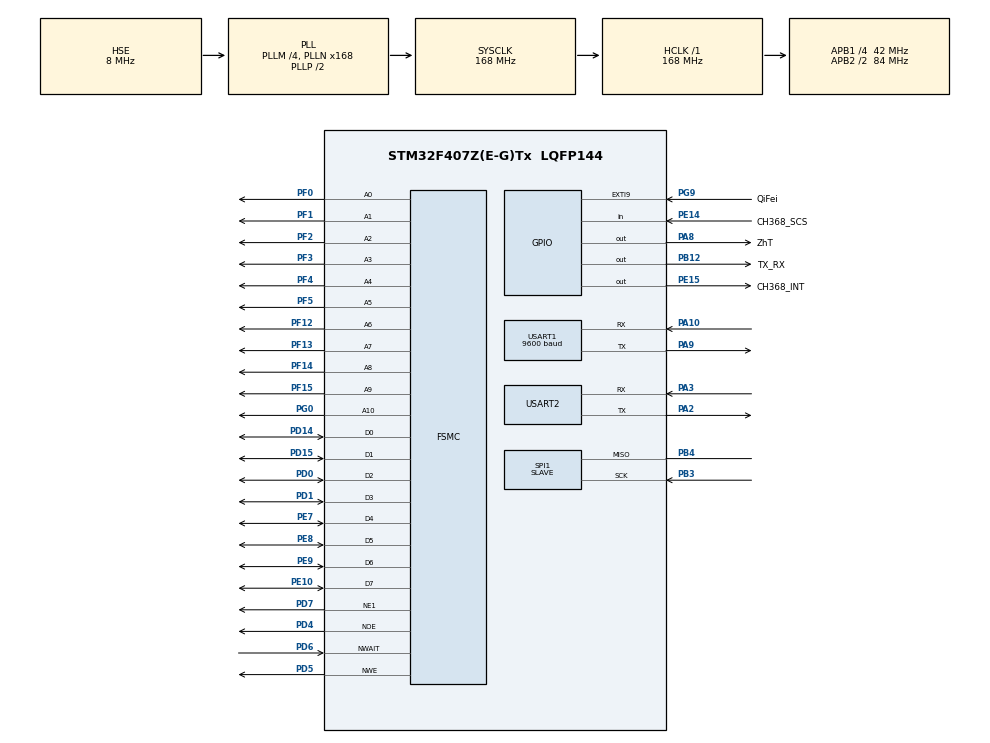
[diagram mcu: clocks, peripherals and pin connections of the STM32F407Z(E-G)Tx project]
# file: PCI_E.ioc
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Dma.Request0=SPI1_RX
Dma.SPI1_RX.0.Direction=DMA_PERIPH_TO_MEMORY
Dma.SPI1_RX.0.FIFOMode=DMA_FIFOMODE_DISABLE
Dma.SPI1_RX.0.Instance=DMA2_Stream0
Dma.SPI1_RX.0.MemDataAlignment=DMA_MDATAALIGN_BYTE
Dma.SPI1_RX.0.MemInc=DMA_MINC_ENABLE
Dma.SPI1_RX.0.Mode=DMA_NORMAL
Dma.SPI1_RX.0.PeriphDataAlignment=DMA_PDATAALIGN_BYTE
Dma.SPI1_RX.0.PeriphInc=DMA_PINC_DISABLE
Dma.SPI1_RX.0.Priority=DMA_PRIORITY_LOW
FSMC.AddressSetupTime1=1
FSMC.BusTurnAroundDuration1=1
FSMC.DataSetupTime1=5
FSMC.WriteOperation1=FSMC_WRITE_OPERATION_ENABLE
Mcu.Family=STM32F4
Mcu.Name=STM32F407Z(E-G)Tx
Mcu.Package=LQFP144
NVIC.DMA2_Stream0_IRQn=true\:0\:0\:false\:false\:true\:false
NVIC.EXTI9_5_IRQn=true\:7\:1\:true\:false\:true\:true
NVIC.PriorityGroup=NVIC_PRIORITYGROUP_3
NVIC.SPI1_IRQn=true\:0\:0\:false\:false\:true\:true
PA10.Mode=Asynchronous
PA10.Signal=USART1_RX
PA13.Mode=Serial_Wire
PA13.Signal=SYS_JTMS-SWDIO
PA14.Mode=Serial_Wire
PA14.Signal=SYS_JTCK-SWCLK
PA2.Mode=Asynchronous
PA2.Signal=USART2_TX
PA3.Mode=Asynchronous
PA3.Signal=USART2_RX
PA8.GPIO_Label=ZhT
PA8.Signal=GPIO_Output
PA9.Mode=Asynchronous
PA9.Signal=USART1_TX
PB12.GPIO_Label=TX_RX
PB12.GPIO_Speed=GPIO_SPEED_FREQ_HIGH
PB12.PinState=GPIO_PIN_SET
PB12.Signal=GPIO_Output
PB3.Mode=Simplex_Bidirectional_Slave
PB3.Signal=SPI1_SCK
PB4.Mode=Simplex_Bidirectional_Slave
PB4.Signal=SPI1_MISO
PD0.Signal=FSMC_D2_DA2
PD1.Signal=FSMC_D3_DA3
PD14.Signal=FSMC_D0_DA0
PD15.Signal=FSMC_D1_DA1
PD4.Signal=FSMC_NOE
PD5.Signal=FSMC_NWE
PD6.Signal=FSMC_NWAIT
PD7.Mode=NorPsramChipSelect1_1
PD7.Signal=FSMC_NE1
PE10.Signal=FSMC_D7_DA7
PE14.GPIO_Label=CH368_SCS
PE14.GPIO_PuPd=GPIO_PULLUP
PE14.Signal=GPIO_Input
PE15.GPIO_Label=CH368_INT
PE15.PinState=GPIO_PIN_SET
PE15.Signal=GPIO_Output
PE7.Signal=FSMC_D4_DA4
PE8.Signal=FSMC_D5_DA5
PE9.Signal=FSMC_D6_DA6
PF0.Signal=FSMC_A0
PF1.Signal=FSMC_A1
PF12.Signal=FSMC_A6
PF13.Signal=FSMC_A7
PF14.Signal=FSMC_A8
PF15.Signal=FSMC_A9
PF2.Signal=FSMC_A2
PF3.Signal=FSMC_A3
PF4.Signal=FSMC_A4
PF5.Signal=FSMC_A5
PG0.Signal=FSMC_A10
PG9.GPIO_Label=QiFei
PG9.GPIO_ModeDefaultEXTI=GPIO_MODE_IT_RISING_FALLING
PG9.Signal=GPXTI9
PH0-OSC_IN.Mode=HSE-External-Oscillator
PH0-OSC_IN.Signal=RCC_OSC_IN
PH1-OSC_OUT.Mode=HSE-External-Oscillator
PH1-OSC_OUT.Signal=RCC_OSC_OUT
ProjectManager.HeapSize=0x200
ProjectManager.StackSize=0x400
ProjectManager.TargetToolchain=Other Toolchains (GPDSC)
RCC.48MHZClocksFreq_Value=84000000
RCC.AHBFreq_Value=168000000
RCC.APB1CLKDivider=RCC_HCLK_DIV4
RCC.APB1Freq_Value=42000000
RCC.APB1TimFreq_Value=84000000
RCC.APB2CLKDivider=RCC_HCLK_DIV2
RCC.APB2Freq_Value=84000000
RCC.APB2TimFreq_Value=168000000
RCC.CortexFreq_Value=168000000
RCC.HCLKFreq_Value=168000000
RCC.HSE_VALUE=8000000
RCC.HSI_VALUE=16000000
RCC.LSE_VALUE=32768
RCC.PLLM=4
RCC.PLLN=168
RCC.PLLSourceVirtual=RCC_PLLSOURCE_HSE
RCC.SYSCLKFreq_VALUE=168000000
RCC.SYSCLKSource=RCC_SYSCLKSOURCE_PLLCLK
RCC.VCOOutputFreq_Value=336000000
SH.FSMC_A0.0=FSMC_A0,11b-a1
SH.FSMC_A1.0=FSMC_A1,11b-a1
SH.FSMC_A10.0=FSMC_A10,11b-a1
SH.FSMC_A2.0=FSMC_A2,11b-a1
SH.FSMC_A3.0=FSMC_A3,11b-a1
SH.FSMC_A4.0=FSMC_A4,11b-a1
SH.FSMC_A5.0=FSMC_A5,11b-a1
SH.FSMC_A6.0=FSMC_A6,11b-a1
SH.FSMC_A7.0=FSMC_A7,11b-a1
SH.FSMC_A8.0=FSMC_A8,11b-a1
SH.FSMC_A9.0=FSMC_A9,11b-a1
SH.FSMC_D0_DA0.0=FSMC_D0,8b-d1
SH.FSMC_D1_DA1.0=FSMC_D1,8b-d1
SH.FSMC_D2_DA2.0=FSMC_D2,8b-d1
SH.FSMC_D3_DA3.0=FSMC_D3,8b-d1
SH.FSMC_D4_DA4.0=FSMC_D4,8b-d1
SH.FSMC_D5_DA5.0=FSMC_D5,8b-d1
SH.FSMC_D6_DA6.0=FSMC_D6,8b-d1
SH.FSMC_D7_DA7.0=FSMC_D7,8b-d1
SH.FSMC_NOE.0=FSMC_NOE,Sram1
SH.FSMC_NWAIT.0=FSMC_NWAIT,AsynchronousWait1
SH.FSMC_NWE.0=FSMC_NWE,Sram1
SPI1.CLKPhase=SPI_PHASE_2EDGE
SPI1.CLKPolarity=SPI_POLARITY_HIGH
SPI1.Direction=SPI_DIRECTION_1LINE
SPI1.Mode=SPI_MODE_SLAVE
SPI1.VirtualType=VM_SLAVE
USART1.BaudRate=9600
USART1.VirtualMode=VM_ASYNC
USART2.VirtualMode=VM_ASYNC
VP_IWDG_VS_IWDG.Mode=IWDG_Activate
board=custom

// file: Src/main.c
/**
  ******************************************************************************
  * @file           : main.c
  * @brief          : Main program body
  ******************************************************************************
  ** This notice applies to any and all portions of this file
  * that are not between comment pairs USER CODE BEGIN and
  * USER CODE END. Other portions of this file, whether
  * inserted by the user or by software development tools
  * are owned by their respective copyright owners.
  *
  * COPYRIGHT(c) 2019 STMicroelectronics
  *
  * Redistribution and use in source and binary forms, with or without modification,
  * are permitted provided that the following conditions are met:
  *   1. Redistributions of source code must retain the above copyright notice,
  *      this list of conditions and the following disclaimer.
  *   2. Redistributions in binary form must reproduce the above copyright notice,
  *      this list of conditions and the following disclaimer in the documentation
  *      and/or other materials provided with the distribution.
  *   3. Neither the name of STMicroelectronics nor the names of its contributors
  *      may be used to endorse or promote products derived from this software
  *      without specific prior written permission.
  *
  * THIS SOFTWARE IS PROVIDED BY THE COPYRIGHT HOLDERS AND CONTRIBUTORS "AS IS"
  * AND ANY EXPRESS OR IMPLIED WARRANTIES, INCLUDING, BUT NOT LIMITED TO, THE
  * IMPLIED WARRANTIES OF MERCHANTABILITY AND FITNESS FOR A PARTICULAR PURPOSE ARE
  * DISCLAIMED. IN NO EVENT SHALL THE COPYRIGHT HOLDER OR CONTRIBUTORS BE LIABLE
  * FOR ANY DIRECT, INDIRECT, INCIDENTAL, SPECIAL, EXEMPLARY, OR CONSEQUENTIAL
  * DAMAGES (INCLUDING, BUT NOT LIMITED TO, PROCUREMENT OF SUBSTITUTE GOODS OR
  * SERVICES; LOSS OF USE, DATA, OR PROFITS; OR BUSINESS INTERRUPTION) HOWEVER
  * CAUSED AND ON ANY THEORY OF LIABILITY, WHETHER IN CONTRACT, STRICT LIABILITY,
  * OR TORT (INCLUDING NEGLIGENCE OR OTHERWISE) ARISING IN ANY WAY OUT OF THE USE
  * OF THIS SOFTWARE, EVEN IF ADVISED OF THE POSSIBILITY OF SUCH DAMAGE.
  *
  ******************************************************************************
  */
#include "main.h"
#include "stm32f4xx_hal.h"
#include "dma.h"
#include "iwdg.h"
#include "spi.h"
#include "usart.h"
#include "gpio.h"
#include "fsmc.h"

/* USER CODE BEGIN Includes */
#include "ExtraMemories.h"
/* USER CODE END Includes */

/* USER CODE BEGIN PV */
/* Private variables ---------------------------------------------------------*/
uint8_t SPIRxHeader[7];
/* USER CODE END PV */

void SystemClock_Config(void);

/* USER CODE BEGIN PFP */
/* Private function prototypes -----------------------------------------------*/

/* USER CODE END PFP */

/* USER CODE BEGIN 0 */
IDT71V321_DATA uint8_t ExRAM[2048];
uint8_t nIndex;
uint32_t waitTick;
extern volatile uint32_t rxErr;
/* USER CODE END 0 */

int main(void)
{
  /* USER CODE BEGIN 1 */
	uint32_t i;
	uint8_t tx485[14],x;
	uint8_t readx[1024];
	GPIO_PinState gp;
  /* USER CODE END 1 */

  /* MCU Configuration----------------------------------------------------------*/

  /* Reset of all peripherals, Initializes the Flash interface and the Systick. */
  HAL_Init();

  /* Configure the system clock */
  SystemClock_Config();

  /* Initialize all configured peripherals */
  MX_GPIO_Init();
  MX_DMA_Init();
  MX_FSMC_Init();
  MX_USART2_UART_Init();
  MX_SPI1_Init();
  MX_USART1_UART_Init();
  MX_IWDG_Init();
  /* USER CODE BEGIN 2 */
//   while (1)
//   {
// 	  tx485[0]=0x55;
// 	  HAL_UART_Transmit(&huart1,tx485,1,1000);
// 	  HAL_Delay(10);
// 	  HAL_GPIO_TogglePin(ZhT_GPIO_Port,ZhT_Pin);
//   }

  //�ȴ�pci׼����
  rxErr=0;
  HAL_GPIO_WritePin(CH368_INT_GPIO_Port, CH368_INT_Pin, GPIO_PIN_SET);
  waitTick=HAL_GetTick();
  while (1)
  {
	  gp=HAL_GPIO_ReadPin(CH368_SCS_GPIO_Port, CH368_SCS_Pin) ;
	  if(gp==GPIO_PIN_SET)
		  break;
	  if(GetDeltaTick(waitTick)>1000)
		  break;
  }

  __HAL_GPIO_EXTI_CLEAR_IT(GPIO_PIN_9);
  HAL_NVIC_EnableIRQ(EXTI9_5_IRQn);
  HAL_GPIO_WritePin(ZhT_GPIO_Port,ZhT_Pin,GPIO_PIN_SET);
//   for(i=0;i<1024;i++)
//   {
// 	  readx[i]=*(uint8_t *)(0x60000000+i);
// 	  if(readx[i]!=ExRAM[i])
// 		  break;
//   }
  /* USER CODE END 2 */

  /* Infinite loop */
  /* USER CODE BEGIN WHILE */
//   tx485[0]=0x16;
//   tx485[13]=0x0d;
//   x=0;
//   for(i=0;i<12;i++)
// 	  tx485[i]=x;
  while (1)
  {
	  HAL_IWDG_Refresh(&hiwdg);
// 	  x++;
// 	  for(i=0;i<12;i++)
// 		  tx485[i]=x;
// 	  HAL_UART_Transmit(&huart1,tx485,14,1000);
// 	  HAL_Delay(1000);
//	  HAL_GPIO_TogglePin(ZhT_GPIO_Port,ZhT_Pin);
// 	  HAL_GPIO_WritePin(CH368_INT_GPIO_Port, CH368_INT_Pin, GPIO_PIN_RESET);
// 	  while (1)
// 	  {
// 		  gp=HAL_GPIO_ReadPin(CH368_SCS_GPIO_Port, CH368_SCS_Pin) ;
// 		  if(gp==GPIO_PIN_RESET)
// 			  break;
// 	  }
// 	  HAL_GPIO_WritePin(CH368_INT_GPIO_Port, CH368_INT_Pin, GPIO_PIN_SET);
// 	  nIndex++;
// 	  for(i=0;i<1024;i++)
// 	  {
// 		  ExRAM[i]=nIndex;
// 	  }
	  tx485[0] = 0x16;
	  tx485[1] = '0';
	  tx485[2] ='0';
	  tx485[3] = '1';
	  tx485[4] = '1';
	  tx485[5] = '1';
	  tx485[6] =  '1';
	  tx485[7] = '1';
	  tx485[8] = '0';
	  tx485[9] = '5';
	  tx485[10] = '1';
	  tx485[11] = 'e';
	  tx485[12] = 'b';
	  tx485[13] = 0x0d;
	  HAL_UART_Transmit(&huart1,tx485,14,1000);
	  HAL_Delay(1000);
  /* USER CODE END WHILE */

  }

}

void SystemClock_Config(void)
{

  RCC_OscInitTypeDef RCC_OscInitStruct;
  RCC_ClkInitTypeDef RCC_ClkInitStruct;

    /**Configure the main internal regulator output voltage
    */
  __HAL_RCC_PWR_CLK_ENABLE();

  __HAL_PWR_VOLTAGESCALING_CONFIG(PWR_REGULATOR_VOLTAGE_SCALE1);

    /**Initializes the CPU, AHB and APB busses clocks
    */
  RCC_OscInitStruct.OscillatorType = RCC_OSCILLATORTYPE_LSI|RCC_OSCILLATORTYPE_HSE;
  RCC_OscInitStruct.HSEState = RCC_HSE_ON;
  RCC_OscInitStruct.LSIState = RCC_LSI_ON;
  RCC_OscInitStruct.PLL.PLLState = RCC_PLL_ON;
  RCC_OscInitStruct.PLL.PLLSource = RCC_PLLSOURCE_HSE;
  RCC_OscInitStruct.PLL.PLLM = 4;
  RCC_OscInitStruct.PLL.PLLN = 168;
  RCC_OscInitStruct.PLL.PLLP = RCC_PLLP_DIV2;
  RCC_OscInitStruct.PLL.PLLQ = 4;
  if (HAL_RCC_OscConfig(&RCC_OscInitStruct) != HAL_OK)
  {
    _Error_Handler(__FILE__, __LINE__);
  }

    /**Initializes the CPU, AHB and APB busses clocks
    */
  RCC_ClkInitStruct.ClockType = RCC_CLOCKTYPE_HCLK|RCC_CLOCKTYPE_SYSCLK
                              |RCC_CLOCKTYPE_PCLK1|RCC_CLOCKTYPE_PCLK2;
  RCC_ClkInitStruct.SYSCLKSource = RCC_SYSCLKSOURCE_PLLCLK;
  RCC_ClkInitStruct.AHBCLKDivider = RCC_SYSCLK_DIV1;
  RCC_ClkInitStruct.APB1CLKDivider = RCC_HCLK_DIV4;
  RCC_ClkInitStruct.APB2CLKDivider = RCC_HCLK_DIV2;

  if (HAL_RCC_ClockConfig(&RCC_ClkInitStruct, FLASH_LATENCY_5) != HAL_OK)
  {
    _Error_Handler(__FILE__, __LINE__);
  }

    /**Configure the Systick interrupt time
    */
  HAL_SYSTICK_Config(HAL_RCC_GetHCLKFreq()/1000);

    /**Configure the Systick
    */
  HAL_SYSTICK_CLKSourceConfig(SYSTICK_CLKSOURCE_HCLK);

  /* SysTick_IRQn interrupt configuration */
  HAL_NVIC_SetPriority(SysTick_IRQn, 0, 0);
}

void _Error_Handler(char *file, int line)
{
  while(1)
  {
  }
}

/************************ (C) COPYRIGHT STMicroelectronics *****END OF FILE****/
